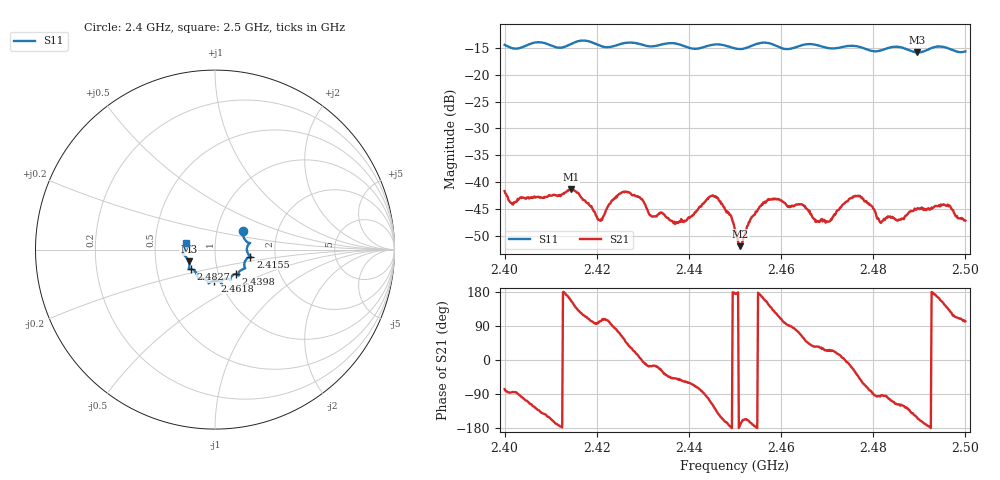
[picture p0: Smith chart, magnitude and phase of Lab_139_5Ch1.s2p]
# Hz S RI R 50
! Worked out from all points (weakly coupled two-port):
!   601 points, 2.4 GHz to 2.5 GHz, reference 50 ohm
!   highest |S21| = -41.27 dB at 2.4143 GHz (marker M1); lowest = -51.8 dB at 2.4512 GHz (marker M2)
!   lowest |S11| = -15.9 dB at 2.4895 GHz (marker M3), VSWR 1.38, Z = 37 - j5.02 ohm
!   |S11| at or under -10 dB: start of sweep to end of sweep
!   S12 and S22 are empty: the file has one direction only
!   S11 on the Smith chart (normalised r, x): 2.4 GHz: 1.33, +0.29; 2.4155 GHz: 1.49, -0.12; 2.4398 GHz: 1.21, -0.34; 2.4618 GHz: 0.94, -0.33; 2.4827 GHz: 0.75, -0.17; 2.5 GHz: 0.72, +0.06
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2.4e9  0.1557 0.1063  0.00186 -0.0081  0 0  0 0
2.401833e9  0.1571 0.0766  0.000643 -0.00618  0 0  0 0
2.414333e9  0.189 -0.0311  -0.00803 0.0032  0 0  0 0
2.4155e9  0.1974 -0.0395  -0.00607 0.00552  0 0  0 0
2.416667e9  0.2023 -0.0428  -0.00393 0.00602  0 0  0 0
2.420667e9  0.1786 -0.05  -0.000934 0.00434  0 0  0 0
2.426e9  0.1672 -0.1018  0.00473 0.00654  0 0  0 0
2.433333e9  0.1297 -0.1342  0.00473 -0.00172  0 0  0 0
2.439833e9  0.1152 -0.1355  0.00232 -0.00407  0 0  0 0
2.445333e9  0.0841 -0.1698  -0.00396 -0.00633  0 0  0 0
2.45e9  0.0652 -0.1621  -0.00358 0.000331  0 0  0 0
2.451167e9  0.0524 -0.1641  -0.00252 -0.000462  0 0  0 0
2.456667e9  0.0391 -0.1935  -0.00587 0.00272  0 0  0 0
2.461833e9  -0.00345 -0.173  -8.68e-05 0.00588  0 0  0 0
2.466667e9  -0.0351 -0.188  0.00385 0.00303  0 0  0 0
2.470167e9  -0.0498 -0.169  0.00389 0.00187  0 0  0 0
2.476667e9  -0.0961 -0.1547  0.00564 -0.00499  0 0  0 0
2.482667e9  -0.1348 -0.1085  -0.000421 -0.0046  0 0  0 0
2.483333e9  -0.1397 -0.1081  -0.00101 -0.00466  0 0  0 0
2.4895e9  -0.1459 -0.0662  -0.00502 -0.00273  0 0  0 0
2.495667e9  -0.1778 -0.0169  -0.0049 0.00366  0 0  0 0
2.5e9  -0.1593 0.0389  -0.000943 0.00432  0 0  0 0
